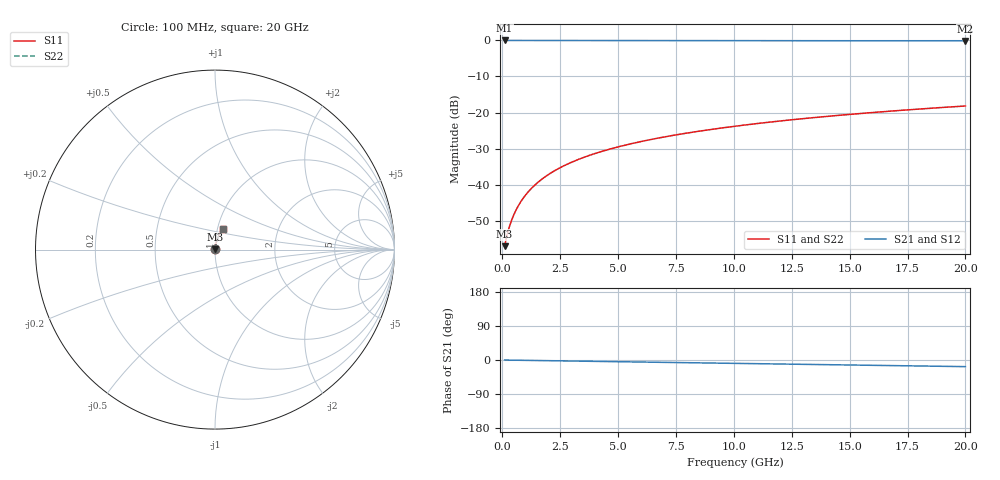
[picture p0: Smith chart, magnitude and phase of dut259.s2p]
! Touchstone file exported from HFSS 2026.1.0
!  File:  C:/ffzhzh/LocalFiles/Ansys_Project_Files/temp_train_TMRDL_259_1782984973_45328.aedt
!  Generated:  05:37:25 PM Jul  2, 2026
!  Design:  TMRDL
!  Project:  temp_train_TMRDL_259_1782984973_45328
! Variables:
!  h_bsmrdl = 2um
!  h_ox = 20um
!  h_rdl = 5um
!  h_sub = 80um
!  h_tmrdl = 5.25um
!  h_tsv = 80um
!  h_via = 3um
!  l_bsmrdl = 300um
!  l_sub = 670.13um
!  l_tmrdl = 270.13um
!  m_sub = 200um
!  pitch = 31.81um
!  r_tsv = 6um
!  s_tmrdl = 10um
!  w_bsmrdl = 18um
!  w_sub = 500um
!  w_tmrdl = 18um
!  x_tsv_center1 = 279.13um
!  x_tsv_center2 = 597.13um
!  x_tsv_center3 = 885.26um
!  x_tsv_center4 = 1203.26um
!  x_tsv_center5 = 1491.39um
!  x_tsv_center6 = 1809.39um
# GHz S MA R 50.000000
! Terminal data exported
! Port[1] = TM_RDL1_1_T1
! Port[2] = TM_RDL1_1_T2
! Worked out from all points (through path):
!   200 points, 100 MHz to 20 GHz, reference 50 ohm
!   highest |S21| = -0.01 dB at 100 MHz (marker M1); lowest = -0.1 dB at 20 GHz (marker M2)
!   group delay of S21, straight-line fit = 2.42 ps
!   lowest |S11| = -57.0 dB at 100 MHz (marker M3), VSWR 1.00, Z = 50.1 + j0.08 ohm
!   |S11| at or under -10 dB: start of sweep to end of sweep
!   |S22| runs from -57.0 to -18.2 dB; largest |S21 - S12| = 5.4e-15
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0.1  0.001407 34.6  0.9988 -0.1  0.9988 -0.1  0.001407 34.6
! Gamma 0 0 0 0
! Port Impedance 50 0 50 0
0.2  0.001974 51.0  0.9988 -0.2  0.9988 -0.2  0.001974 51.0
0.3  0.002585 59.4  0.9987 -0.3  0.9987 -0.3  0.002585 59.4
0.4  0.00321 64.7  0.9986 -0.4  0.9986 -0.4  0.00321 64.7
0.5  0.003848 68.4  0.9986 -0.5  0.9986 -0.5  0.003848 68.4
0.6  0.004497 71.1  0.9986 -0.6  0.9986 -0.6  0.004497 71.1
0.8  0.005817 74.7  0.9985 -0.7  0.9985 -0.7  0.005817 74.7
1.1  0.007828 77.7  0.9984 -1.0  0.9984 -1.0  0.007828 77.7
1.3  0.009178 78.8  0.9984 -1.2  0.9984 -1.2  0.009178 78.8
1.6  0.0112 79.9  0.9982 -1.5  0.9982 -1.5  0.0112 79.9
2.1  0.01457 80.8  0.998 -1.9  0.998 -1.9  0.01457 80.8
2.7  0.01857 81.1  0.9977 -2.5  0.9977 -2.5  0.01857 81.1
3.5  0.02382 81.0  0.9973 -3.2  0.9973 -3.2  0.02382 81.0
4.2  0.02834 80.7  0.9969 -3.8  0.9969 -3.8  0.02834 80.7
5  0.03344 80.3  0.9964 -4.5  0.9964 -4.5  0.03344 80.3
5.9  0.03911 79.7  0.9958 -5.3  0.9958 -5.3  0.03911 79.7
6.8  0.04472 79.2  0.9953 -6.1  0.9953 -6.1  0.04472 79.2
8.3  0.05398 78.2  0.9944 -7.4  0.9944 -7.4  0.05398 78.2
10.1  0.06497 77.0  0.9933 -9.0  0.9933 -9.0  0.06497 77.0
13.4  0.08484 74.6  0.991 -11.8  0.991 -11.8  0.08484 74.6
16.7  0.1043 72.1  0.9886 -14.7  0.9886 -14.7  0.1043 72.0
20  0.1234 69.5  0.9858 -17.5  0.9858 -17.5  0.1234 69.5
